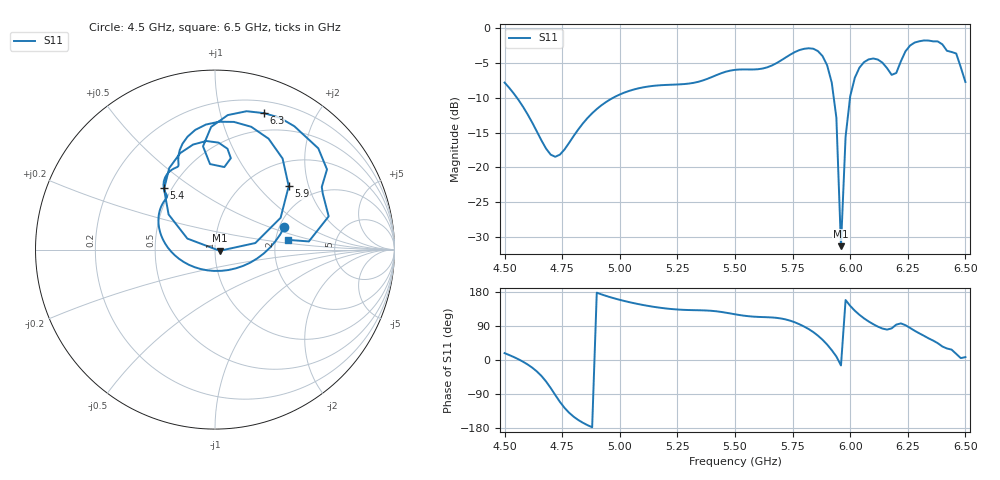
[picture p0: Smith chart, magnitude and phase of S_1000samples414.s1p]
! TOUCHSTONE file generated by CST MICROWAVE STUDIO
! Date and time: Fri Oct 28 02:24:18 2022
! Project name: L.cst
! Parameters = {Di=1.27; Epsilon_r=1.56; InnerDiameter=1.27; Length=2; Lf=10; Lg=60; OuterConductorThickness=0.2921; OuterDiameter=3.6; Wf=3; Wp=41.2; de=1.5; df=6.8; g=0.8; gx=2.67353; gy=0.557097; h=2.34; hf=1.524; px=14.3832; py=11.827; w=9.7; wx=11.7097; wy=11.2699}
! Header version: 2018
! Port assignment regex: !\s*Touchstone port\s*([0-9]+)\s*=\s*(CST MWS port|CST DS port)\s*([0-9]+|Zmin|Zmax)\s*\(\"(.*)\"\)(\s*mode\s*([0-9]+))?.*
! Touchstone port assignment:
! Touchstone port 1 = CST MWS port 1 ("")
# GHz S DB R 50
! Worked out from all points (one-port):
!   101 points, 4.5 GHz to 6.5 GHz, reference 50 ohm
!   lowest |S11| = -31.4 dB at 5.96 GHz (marker M1), VSWR 1.06, Z = 52.7 - j0.709 ohm
!   |S11| at or under -10 dB: 4.554 GHz to 4.971 GHz (417.3 MHz wide, 8.76 % of centre); 5.929 GHz to 5.999 GHz (70.59 MHz wide, 1.18 % of centre)
!   S11 on the Smith chart (normalised r, x): 4.5 GHz: 2.13, +0.65; 5.4 GHz: 0.45, +0.39; 5.9 GHz: 1.50, +1.50; 6.3 GHz: 0.31, +1.37; 6.5 GHz: 2.35, +0.31
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4.5  -7.81 18.1
4.7  -18.19 -73.9
4.76  -17.44 -126.3
4.88  -12.23 -177.5
5  -9.52 158.7
5.26  -8.06 132.9
5.4  -7.00 129.7
5.5  -5.97 120.6
5.66  -5.35 112.3
5.76  -3.40 99.4
5.84  -2.93 73.6
5.9  -5.32 40.7
5.92  -7.83 25.9
5.94  -12.85 9.3
5.96  -31.37 -14.4
5.98  -15.60 158.3
6  -9.78 142.9
6.04  -5.66 119.3
6.08  -4.47 101.8
6.16  -5.73 80.2
6.2  -6.42 93.3
6.22  -4.74 96.6
6.26  -2.47 84.6
6.3  -1.86 70.4
6.4  -2.30 35.6
6.46  -3.61 16.3
6.48  -5.60 5.0
6.5  -7.72 7.6
